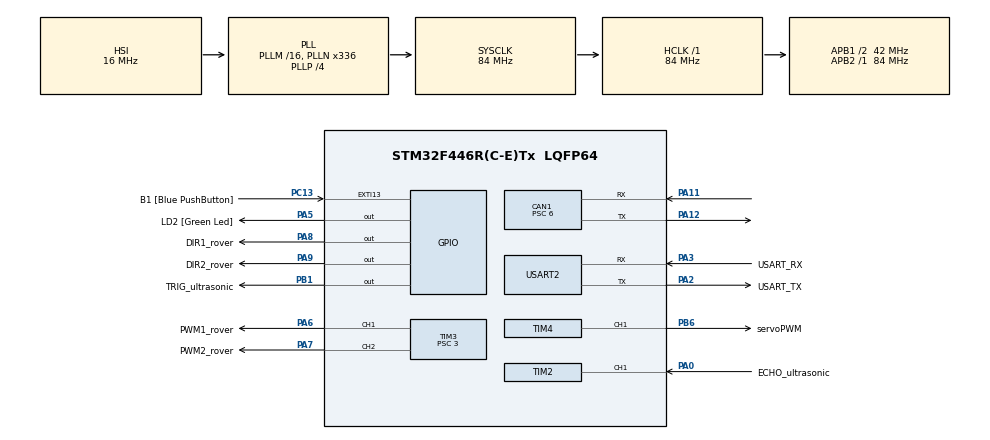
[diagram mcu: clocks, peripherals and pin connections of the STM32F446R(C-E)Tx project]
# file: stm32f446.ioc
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CAN1.BS1=CAN_BS1_11TQ
CAN1.BS2=CAN_BS2_2TQ
CAN1.CalculateBaudRate=500000
CAN1.CalculateTimeBit=2000
CAN1.CalculateTimeQuantum=142.85714285714286
CAN1.Prescaler=6
Mcu.Family=STM32F4
Mcu.Name=STM32F446R(C-E)Tx
Mcu.Package=LQFP64
NVIC.CAN1_RX0_IRQn=true\:0\:0\:false\:false\:true\:true\:true\:true
NVIC.PriorityGroup=NVIC_PRIORITYGROUP_0
NVIC.TIM2_IRQn=true\:0\:0\:false\:false\:true\:true\:true\:true
NVIC.TIM4_IRQn=true\:0\:0\:false\:false\:true\:true\:true\:true
NVIC.USART2_IRQn=true\:0\:0\:false\:false\:true\:true\:true\:true
PA0-WKUP.GPIO_Label=ECHO_ultrasonic
PA0-WKUP.Signal=S_TIM2_CH1_ETR
PA11.Mode=CAN_Activate
PA11.Signal=CAN1_RX
PA12.Mode=CAN_Activate
PA12.Signal=CAN1_TX
PA13.GPIO_Label=TMS
PA13.Mode=Serial_Wire
PA13.Signal=SYS_JTMS-SWDIO
PA14.GPIO_Label=TCK
PA14.Mode=Serial_Wire
PA14.Signal=SYS_JTCK-SWCLK
PA2.GPIO_Label=USART_TX
PA2.Mode=Asynchronous
PA2.Signal=USART2_TX
PA3.GPIO_Label=USART_RX
PA3.Mode=Asynchronous
PA3.Signal=USART2_RX
PA5.GPIO_Label=LD2 [Green Led]
PA5.Signal=GPIO_Output
PA6.GPIO_Label=PWM1_rover
PA6.Signal=S_TIM3_CH1
PA7.GPIO_Label=PWM2_rover
PA7.Signal=S_TIM3_CH2
PA8.GPIO_Label=DIR1_rover
PA8.Signal=GPIO_Output
PA9.GPIO_Label=DIR2_rover
PA9.Signal=GPIO_Output
PB1.GPIO_Label=TRIG_ultrasonic
PB1.Signal=GPIO_Output
PB3.GPIO_Label=SWO
PB3.Signal=SYS_JTDO-SWO
PB6.GPIO_Label=servoPWM
PB6.Signal=S_TIM4_CH1
PC13.GPIO_Label=B1 [Blue PushButton]
PC13.GPIO_ModeDefaultEXTI=GPIO_MODE_IT_FALLING
PC13.Signal=GPXTI13
PC14-OSC32_IN.Mode=LSE-External-Oscillator
PC14-OSC32_IN.Signal=RCC_OSC32_IN
PC15-OSC32_OUT.Mode=LSE-External-Oscillator
PC15-OSC32_OUT.Signal=RCC_OSC32_OUT
PH0-OSC_IN.Mode=HSE-External-Oscillator
PH0-OSC_IN.Signal=RCC_OSC_IN
PH1-OSC_OUT.Mode=HSE-External-Oscillator
PH1-OSC_OUT.Signal=RCC_OSC_OUT
ProjectManager.HeapSize=0x200
ProjectManager.StackSize=0x400
ProjectManager.TargetToolchain=CMake
RCC.48MHZClocksFreq_Value=84000000
RCC.AHBFreq_Value=84000000
RCC.APB1CLKDivider=RCC_HCLK_DIV2
RCC.APB1Freq_Value=42000000
RCC.APB1TimFreq_Value=84000000
RCC.APB2Freq_Value=84000000
RCC.APB2TimFreq_Value=84000000
RCC.CortexFreq_Value=84000000
RCC.FLatency-AdvancedSettings=FLASH_LATENCY_2
RCC.HCLKFreq_Value=84000000
RCC.HSE_VALUE=8000000
RCC.HSI_VALUE=16000000
RCC.PLLN=336
RCC.PLLP=RCC_PLLP_DIV4
RCC.SYSCLKFreq_VALUE=84000000
RCC.SYSCLKSource=RCC_SYSCLKSOURCE_PLLCLK
RCC.USBFreq_Value=168000000
RCC.VCOOutputFreq_Value=336000000
SH.S_TIM2_CH1_ETR.0=TIM2_CH1,Input_Capture1_from_TI1
SH.S_TIM3_CH1.0=TIM3_CH1,PWM Generation1 CH1
SH.S_TIM3_CH2.0=TIM3_CH2,PWM Generation2 CH2
SH.S_TIM4_CH1.0=TIM4_CH1,PWM Generation1 CH1
TIM2.Channel-Input_Capture1_from_TI1=TIM_CHANNEL_1
TIM2.Period=0xFFFFFFFF
TIM2.Prescaler=83
TIM3.Channel-PWM\ Generation1\ CH1=TIM_CHANNEL_1
TIM3.Channel-PWM\ Generation2\ CH2=TIM_CHANNEL_2
TIM3.Period=999
TIM3.Prescaler=3
TIM4.Channel-PWM\ Generation1\ CH1=TIM_CHANNEL_1
TIM4.Period=19999
TIM4.Prescaler=83
TIM4.Pulse-PWM\ Generation1\ CH1=1500
USART2.VirtualMode=VM_ASYNC
VP_TIM2_VS_ClockSourceINT.Mode=Internal
board=NUCLEO-F446RE

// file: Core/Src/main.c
/* USER CODE BEGIN Header */
/**
 ******************************************************************************
 * @file           : main.c
 * @brief          : Main program body
 ******************************************************************************
 * @attention
 *
 * Copyright (c) 2026 STMicroelectronics.
 * All rights reserved.
 *
 * This software is licensed under terms that can be found in the LICENSE file
 * in the root directory of this software component.
 * If no LICENSE file comes with this software, it is provided AS-IS.
 *
 ******************************************************************************
 */
/* USER CODE END Header */
#include "main.h"

/* USER CODE BEGIN Includes */
#include "ap.h"
#include "can_comm.h"
#include "stm32f4xx_hal.h"

/* USER CODE END Includes */

CAN_HandleTypeDef hcan1;

TIM_HandleTypeDef htim2;
TIM_HandleTypeDef htim3;
TIM_HandleTypeDef htim4;

UART_HandleTypeDef huart2;

void SystemClock_Config(void);
static void MX_GPIO_Init(void);
static void MX_TIM2_Init(void);
static void MX_USART2_UART_Init(void);
static void MX_TIM3_Init(void);
static void MX_CAN1_Init(void);
static void MX_TIM4_Init(void);

int main(void)
{

  /* MCU Configuration--------------------------------------------------------*/

  /* Reset of all peripherals, Initializes the Flash interface and the Systick. */
  HAL_Init();

  /* Configure the system clock */
  SystemClock_Config();

  /* Initialize all configured peripherals */
  MX_GPIO_Init();
  MX_TIM2_Init();
  MX_USART2_UART_Init();
  MX_TIM3_Init();
  MX_CAN1_Init();
  MX_TIM4_Init();
  /* USER CODE BEGIN 2 */
  // hwInit();
  apInit();
  // apMain();
  /* USER CODE END 2 */

  /* Infinite loop */
  while (1) {

    /* USER CODE BEGIN 3 */
    apMain();
    // HAL_Delay(10);
  }
  /* USER CODE END 3 */
}

void SystemClock_Config(void)
{
  RCC_OscInitTypeDef RCC_OscInitStruct = {0};
  RCC_ClkInitTypeDef RCC_ClkInitStruct = {0};

  /** Configure the main internal regulator output voltage
  */
  __HAL_RCC_PWR_CLK_ENABLE();
  __HAL_PWR_VOLTAGESCALING_CONFIG(PWR_REGULATOR_VOLTAGE_SCALE3);

  /** Initializes the RCC Oscillators according to the specified parameters
  * in the RCC_OscInitTypeDef structure.
  */
  RCC_OscInitStruct.OscillatorType = RCC_OSCILLATORTYPE_HSI;
  RCC_OscInitStruct.HSIState = RCC_HSI_ON;
  RCC_OscInitStruct.HSICalibrationValue = RCC_HSICALIBRATION_DEFAULT;
  RCC_OscInitStruct.PLL.PLLState = RCC_PLL_ON;
  RCC_OscInitStruct.PLL.PLLSource = RCC_PLLSOURCE_HSI;
  RCC_OscInitStruct.PLL.PLLM = 16;
  RCC_OscInitStruct.PLL.PLLN = 336;
  RCC_OscInitStruct.PLL.PLLP = RCC_PLLP_DIV4;
  RCC_OscInitStruct.PLL.PLLQ = 2;
  RCC_OscInitStruct.PLL.PLLR = 2;
  if (HAL_RCC_OscConfig(&RCC_OscInitStruct) != HAL_OK)
  {
    Error_Handler();
  }

  /** Initializes the CPU, AHB and APB buses clocks
  */
  RCC_ClkInitStruct.ClockType = RCC_CLOCKTYPE_HCLK|RCC_CLOCKTYPE_SYSCLK
                              |RCC_CLOCKTYPE_PCLK1|RCC_CLOCKTYPE_PCLK2;
  RCC_ClkInitStruct.SYSCLKSource = RCC_SYSCLKSOURCE_PLLCLK;
  RCC_ClkInitStruct.AHBCLKDivider = RCC_SYSCLK_DIV1;
  RCC_ClkInitStruct.APB1CLKDivider = RCC_HCLK_DIV2;
  RCC_ClkInitStruct.APB2CLKDivider = RCC_HCLK_DIV1;

  if (HAL_RCC_ClockConfig(&RCC_ClkInitStruct, FLASH_LATENCY_2) != HAL_OK)
  {
    Error_Handler();
  }
}

static void MX_CAN1_Init(void)
{

  hcan1.Instance = CAN1;
  hcan1.Init.Prescaler = 6;
  hcan1.Init.Mode = CAN_MODE_NORMAL;
  hcan1.Init.SyncJumpWidth = CAN_SJW_1TQ;
  hcan1.Init.TimeSeg1 = CAN_BS1_11TQ;
  hcan1.Init.TimeSeg2 = CAN_BS2_2TQ;
  hcan1.Init.TimeTriggeredMode = DISABLE;
  hcan1.Init.AutoBusOff = ENABLE;
  hcan1.Init.AutoWakeUp = DISABLE;
  hcan1.Init.AutoRetransmission = ENABLE;
  hcan1.Init.ReceiveFifoLocked = DISABLE;
  hcan1.Init.TransmitFifoPriority = DISABLE;
  if (HAL_CAN_Init(&hcan1) != HAL_OK)
  {
    Error_Handler();
  }

}

static void MX_TIM2_Init(void)
{

  TIM_ClockConfigTypeDef sClockSourceConfig = {0};
  TIM_MasterConfigTypeDef sMasterConfig = {0};
  TIM_IC_InitTypeDef sConfigIC = {0};

  htim2.Instance = TIM2;
  htim2.Init.Prescaler = 83;
  htim2.Init.CounterMode = TIM_COUNTERMODE_UP;
  htim2.Init.Period = 0xFFFFFFFF;
  htim2.Init.ClockDivision = TIM_CLOCKDIVISION_DIV1;
  htim2.Init.AutoReloadPreload = TIM_AUTORELOAD_PRELOAD_DISABLE;
  if (HAL_TIM_Base_Init(&htim2) != HAL_OK)
  {
    Error_Handler();
  }
  sClockSourceConfig.ClockSource = TIM_CLOCKSOURCE_INTERNAL;
  if (HAL_TIM_ConfigClockSource(&htim2, &sClockSourceConfig) != HAL_OK)
  {
    Error_Handler();
  }
  if (HAL_TIM_IC_Init(&htim2) != HAL_OK)
  {
    Error_Handler();
  }
  sMasterConfig.MasterOutputTrigger = TIM_TRGO_RESET;
  sMasterConfig.MasterSlaveMode = TIM_MASTERSLAVEMODE_DISABLE;
  if (HAL_TIMEx_MasterConfigSynchronization(&htim2, &sMasterConfig) != HAL_OK)
  {
    Error_Handler();
  }
  sConfigIC.ICPolarity = TIM_INPUTCHANNELPOLARITY_RISING;
  sConfigIC.ICSelection = TIM_ICSELECTION_DIRECTTI;
  sConfigIC.ICPrescaler = TIM_ICPSC_DIV1;
  sConfigIC.ICFilter = 0;
  if (HAL_TIM_IC_ConfigChannel(&htim2, &sConfigIC, TIM_CHANNEL_1) != HAL_OK)
  {
    Error_Handler();
  }

}

static void MX_TIM3_Init(void)
{

  TIM_MasterConfigTypeDef sMasterConfig = {0};
  TIM_OC_InitTypeDef sConfigOC = {0};

  htim3.Instance = TIM3;
  htim3.Init.Prescaler = 3;
  htim3.Init.CounterMode = TIM_COUNTERMODE_UP;
  htim3.Init.Period = 999;
  htim3.Init.ClockDivision = TIM_CLOCKDIVISION_DIV1;
  htim3.Init.AutoReloadPreload = TIM_AUTORELOAD_PRELOAD_DISABLE;
  if (HAL_TIM_PWM_Init(&htim3) != HAL_OK)
  {
    Error_Handler();
  }
  sMasterConfig.MasterOutputTrigger = TIM_TRGO_RESET;
  sMasterConfig.MasterSlaveMode = TIM_MASTERSLAVEMODE_DISABLE;
  if (HAL_TIMEx_MasterConfigSynchronization(&htim3, &sMasterConfig) != HAL_OK)
  {
    Error_Handler();
  }
  sConfigOC.OCMode = TIM_OCMODE_PWM1;
  sConfigOC.Pulse = 0;
  sConfigOC.OCPolarity = TIM_OCPOLARITY_HIGH;
  sConfigOC.OCFastMode = TIM_OCFAST_DISABLE;
  if (HAL_TIM_PWM_ConfigChannel(&htim3, &sConfigOC, TIM_CHANNEL_1) != HAL_OK)
  {
    Error_Handler();
  }
  if (HAL_TIM_PWM_ConfigChannel(&htim3, &sConfigOC, TIM_CHANNEL_2) != HAL_OK)
  {
    Error_Handler();
  }
  HAL_TIM_MspPostInit(&htim3);

}

static void MX_TIM4_Init(void)
{

  TIM_MasterConfigTypeDef sMasterConfig = {0};
  TIM_OC_InitTypeDef sConfigOC = {0};

  htim4.Instance = TIM4;
  htim4.Init.Prescaler = 83;
  htim4.Init.CounterMode = TIM_COUNTERMODE_UP;
  htim4.Init.Period = 19999;
  htim4.Init.ClockDivision = TIM_CLOCKDIVISION_DIV1;
  htim4.Init.AutoReloadPreload = TIM_AUTORELOAD_PRELOAD_DISABLE;
  if (HAL_TIM_PWM_Init(&htim4) != HAL_OK)
  {
    Error_Handler();
  }
  sMasterConfig.MasterOutputTrigger = TIM_TRGO_RESET;
  sMasterConfig.MasterSlaveMode = TIM_MASTERSLAVEMODE_DISABLE;
  if (HAL_TIMEx_MasterConfigSynchronization(&htim4, &sMasterConfig) != HAL_OK)
  {
    Error_Handler();
  }
  sConfigOC.OCMode = TIM_OCMODE_PWM1;
  sConfigOC.Pulse = 1500;
  sConfigOC.OCPolarity = TIM_OCPOLARITY_HIGH;
  sConfigOC.OCFastMode = TIM_OCFAST_DISABLE;
  if (HAL_TIM_PWM_ConfigChannel(&htim4, &sConfigOC, TIM_CHANNEL_1) != HAL_OK)
  {
    Error_Handler();
  }
  HAL_TIM_MspPostInit(&htim4);

}

static void MX_USART2_UART_Init(void)
{

  huart2.Instance = USART2;
  huart2.Init.BaudRate = 115200;
  huart2.Init.WordLength = UART_WORDLENGTH_8B;
  huart2.Init.StopBits = UART_STOPBITS_1;
  huart2.Init.Parity = UART_PARITY_NONE;
  huart2.Init.Mode = UART_MODE_TX_RX;
  huart2.Init.HwFlowCtl = UART_HWCONTROL_NONE;
  huart2.Init.OverSampling = UART_OVERSAMPLING_16;
  if (HAL_UART_Init(&huart2) != HAL_OK)
  {
    Error_Handler();
  }

}

static void MX_GPIO_Init(void)
{
  GPIO_InitTypeDef GPIO_InitStruct = {0};

  /* GPIO Ports Clock Enable */
  __HAL_RCC_GPIOC_CLK_ENABLE();
  __HAL_RCC_GPIOH_CLK_ENABLE();
  __HAL_RCC_GPIOA_CLK_ENABLE();
  __HAL_RCC_GPIOB_CLK_ENABLE();

  /*Configure GPIO pin Output Level */
  HAL_GPIO_WritePin(GPIOA, LD2_Pin|DIR1_rover_Pin|DIR2_rover_Pin, GPIO_PIN_RESET);

  /*Configure GPIO pin Output Level */
  HAL_GPIO_WritePin(TRIG_ultrasonic_GPIO_Port, TRIG_ultrasonic_Pin, GPIO_PIN_RESET);

  /*Configure GPIO pin : B1_Pin */
  GPIO_InitStruct.Pin = B1_Pin;
  GPIO_InitStruct.Mode = GPIO_MODE_IT_FALLING;
  GPIO_InitStruct.Pull = GPIO_NOPULL;
  HAL_GPIO_Init(B1_GPIO_Port, &GPIO_InitStruct);
  /* USER CODE BEGIN MX_GPIO_Init_B1_NVIC */
  HAL_NVIC_SetPriority(EXTI15_10_IRQn, 2, 0);
  HAL_NVIC_EnableIRQ(EXTI15_10_IRQn);
  /* USER CODE END MX_GPIO_Init_B1_NVIC */

  /*Configure GPIO pins : LD2_Pin DIR1_rover_Pin DIR2_rover_Pin */
  GPIO_InitStruct.Pin = LD2_Pin|DIR1_rover_Pin|DIR2_rover_Pin;
  GPIO_InitStruct.Mode = GPIO_MODE_OUTPUT_PP;
  GPIO_InitStruct.Pull = GPIO_NOPULL;
  GPIO_InitStruct.Speed = GPIO_SPEED_FREQ_LOW;
  HAL_GPIO_Init(GPIOA, &GPIO_InitStruct);

  /*Configure GPIO pin : TRIG_ultrasonic_Pin */
  GPIO_InitStruct.Pin = TRIG_ultrasonic_Pin;
  GPIO_InitStruct.Mode = GPIO_MODE_OUTPUT_PP;
  GPIO_InitStruct.Pull = GPIO_NOPULL;
  GPIO_InitStruct.Speed = GPIO_SPEED_FREQ_LOW;
  HAL_GPIO_Init(TRIG_ultrasonic_GPIO_Port, &GPIO_InitStruct);

}

/* USER CODE BEGIN 4 */
void HAL_TIM_IC_CaptureCallback(TIM_HandleTypeDef *htim) {
  apUltrasonic_OnCapture(htim);
}

/**
 * @brief  CAN 수신 인터럽트 콜백
 * @param  hcan: CAN 핸들러
 */
void HAL_CAN_RxFifo0MsgPendingCallback(CAN_HandleTypeDef *hcan) {
  can_comm_rx_handler(hcan);
}

void HAL_CAN_ErrorCallback(CAN_HandleTypeDef *hcan) {
  if (hcan->ErrorCode & HAL_CAN_ERROR_BOF) {
    HAL_CAN_Stop(hcan);
    HAL_CAN_Start(hcan);
    can_comm_restart();
  }
}

void HAL_GPIO_EXTI_Callback(uint16_t GPIO_Pin) {
  if (GPIO_Pin == B1_Pin) {
    can_comm_restart();
  }
}

/* USER CODE END 4 */

void Error_Handler(void)
{
  __disable_irq();
  while (1) {
  }
}
#ifdef USE_FULL_ASSERT
/**
  * @brief  Reports the name of the source file and the source line number
  *         where the assert_param error has occurred.
  * @param  file: pointer to the source file name
  * @param  line: assert_param error line source number
  * @retval None
  */
void assert_failed(uint8_t *file, uint32_t line)
{
  /* USER CODE BEGIN 6 */
  /* User can add his own implementation to report the file name and line
     number, ex: printf("Wrong parameters value: file %s on line %d\r\n", file,
     line) */
  /* USER CODE END 6 */
}
#endif /* USE_FULL_ASSERT */
